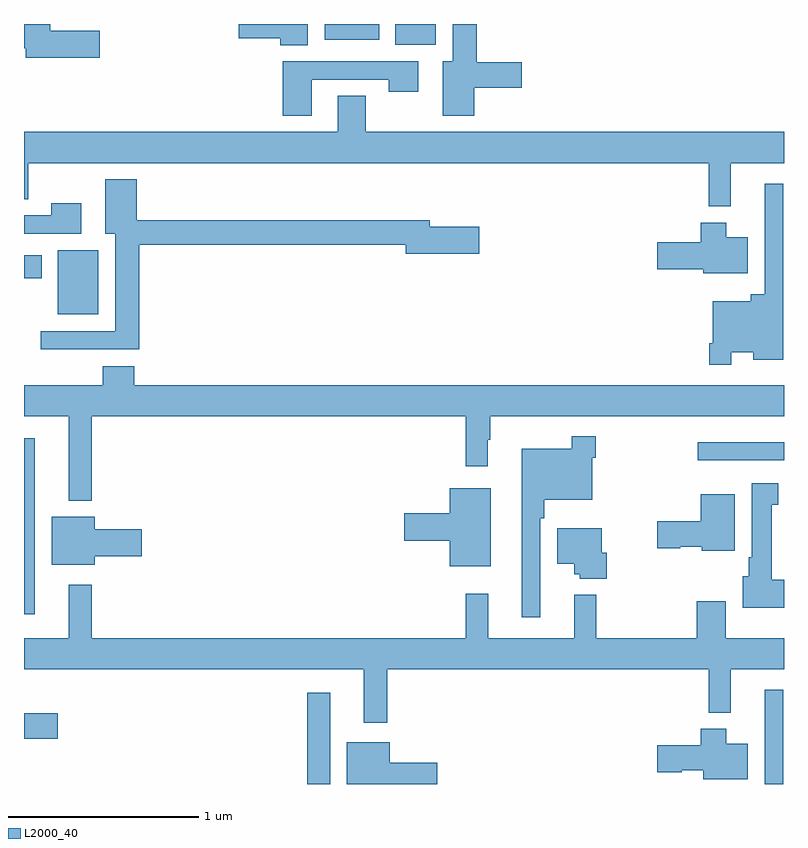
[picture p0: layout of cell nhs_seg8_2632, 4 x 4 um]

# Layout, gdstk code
import gdstk
lib = gdstk.Library(unit=1e-6, precision=1e-09)
def R(c, l, rs):  # rectangles x0, y0, x1, y1
    for r in rs: c.add(gdstk.rectangle(r[:2], r[2:], *l))
def P(c, l, *ps):  # polygons
    for p in ps: c.add(gdstk.Polygon(p, *l))
L2000_40 = (2000, 40)

nhs_seg8_2632 = lib.new_cell('nhs_seg8_2632')
R(nhs_seg8_2632, L2000_40, [(278.49,1111.9,278.611,1112.38), (280.899,1111.9,280.996,1112.395), (277,1112.138,277.177,1112.272), (277,1112.793,277.057,1113.721), (280.545,1113.603,281,1113.7), (277.178,1114.373,277.39,1114.708), (277,1114.562,277.093,1114.684), (278.954,1115.792,279.166,1115.9), (278.582,1115.816,278.869,1115.9)])
P(nhs_seg8_2632, L2000_40, [(278.494,1115.9),(278.13,1115.9),(278.13,1115.825),(278.348,1115.825),(278.348,1115.788),(278.494,1115.788)],
  [(279.37,1115.564),(279.619,1115.564),(279.619,1115.699),(279.383,1115.699),(279.383,1115.9),(279.257,1115.9),(279.257,1115.704),(279.203,1115.704),(279.203,1115.418),(279.37,1115.418)],
  [(277.399,1115.864),(277.138,1115.864),(277.138,1115.9),(277,1115.9),(277,1115.772),(277.01,1115.772),(277.01,1115.722),(277.399,1115.722)],
  [(278.515,1115.607),(278.92,1115.607),(278.92,1115.544),(279.076,1115.544),(279.076,1115.703),(278.363,1115.703),(278.363,1115.418),(278.515,1115.418)],
  [(280.721,1115.168),(281,1115.168),(281,1115.332),(278.799,1115.332),(278.799,1115.522),(278.651,1115.522),(278.651,1115.332),(277,1115.332),(277,1114.978),(277.023,1114.978),(277.023,1115.168),(280.603,1115.168),(280.603,1114.94),(280.721,1114.94)],
  [(277.607,1114.738),(279.008,1114.738),(279.008,1114.691),(279.397,1114.691),(279.397,1114.833),(279.136,1114.833),(279.136,1114.867),(277.594,1114.867),(277.594,1115.083),(277.427,1115.083),(277.427,1114.796),(277.481,1114.796),(277.481,1114.284),(277.089,1114.284),(277.089,1114.187),(277.607,1114.187)],
  [(280.722,1114.172),(280.838,1114.172),(280.838,1114.133),(280.996,1114.133),(280.996,1115.059),(280.899,1115.059),(280.899,1114.477),(280.826,1114.477),(280.826,1114.441),(280.626,1114.441),(280.626,1114.219),(280.606,1114.219),(280.606,1114.107),(280.722,1114.107)],
  [(277.3,1114.957),(277.144,1114.957),(277.144,1114.893),(277,1114.893),(277,1114.797),(277.3,1114.797)],
  [(280.81,1114.777),(280.696,1114.777),(280.696,1114.855),(280.562,1114.855),(280.562,1114.752),(280.332,1114.752),(280.332,1114.61),(280.574,1114.61),(280.574,1114.589),(280.81,1114.589)],
  [(277.357,1113.836),(279.325,1113.836),(279.325,1113.573),(279.442,1113.573),(279.442,1113.713),(279.454,1113.713),(279.454,1113.836),(281,1113.836),(281,1114),(277.58,1114),(277.58,1114.099),(277.415,1114.099),(277.415,1114),(277,1114),(277,1113.836),(277.235,1113.836),(277.235,1113.392),(277.357,1113.392)],
  [(279.717,1113.299),(279.737,1113.299),(279.737,1113.395),(279.99,1113.395),(279.99,1113.617),(280.01,1113.617),(280.01,1113.73),(279.882,1113.73),(279.882,1113.664),(279.62,1113.664),(279.62,1112.778),(279.717,1112.778)],
  [(281,1112.974),(280.936,1112.974),(280.936,1113.371),(280.969,1113.371),(280.969,1113.484),(280.829,1113.484),(280.829,1113.094),(280.814,1113.094),(280.814,1112.994),(280.784,1112.994),(280.784,1112.828),(281,1112.828)],
  [(279.457,1113.457),(279.242,1113.457),(279.242,1113.326),(279,1113.326),(279,1113.179),(279.242,1113.179),(279.242,1113.047),(279.457,1113.047)],
  [(280.741,1113.424),(280.562,1113.424),(280.562,1113.284),(280.332,1113.284),(280.332,1113.142),(280.455,1113.142),(280.455,1113.149),(280.566,1113.149),(280.566,1113.128),(280.741,1113.128)],
  [(277.372,1113.1),(277.621,1113.1),(277.621,1113.242),(277.372,1113.242),(277.372,1113.307),(277.145,1113.307),(277.145,1113.053),(277.372,1113.053)],
  [(280.067,1113.117),(280.042,1113.117),(280.042,1113.247),(279.806,1113.247),(279.806,1113.059),(279.896,1113.059),(279.896,1113.003),(279.924,1113.003),(279.924,1112.981),(280.067,1112.981)],
  [(278.911,1112.504),(280.603,1112.504),(280.603,1112.276),(280.721,1112.276),(280.721,1112.504),(281,1112.504),(281,1112.668),(280.693,1112.668),(280.693,1112.863),(280.541,1112.863),(280.541,1112.668),(280.013,1112.668),(280.013,1112.896),(279.896,1112.896),(279.896,1112.668),(279.443,1112.668),(279.443,1112.902),(279.325,1112.902),(279.325,1112.668),(277.357,1112.668),(277.357,1112.95),(277.235,1112.95),(277.235,1112.668),(277,1112.668),(277,1112.504),(278.789,1112.504),(278.789,1112.223),(278.911,1112.223)],
  [(280.81,1112.113),(280.696,1112.113),(280.696,1112.191),(280.562,1112.191),(280.562,1112.103),(280.332,1112.103),(280.332,1111.961),(280.461,1111.961),(280.461,1111.973),(280.574,1111.973),(280.574,1111.925),(280.81,1111.925)],
  [(279.175,1112.013),(278.926,1112.013),(278.926,1112.119),(278.699,1112.119),(278.699,1111.9),(279.175,1111.9)])

lib.write_gds('nhs_seg8_2632.gds')
